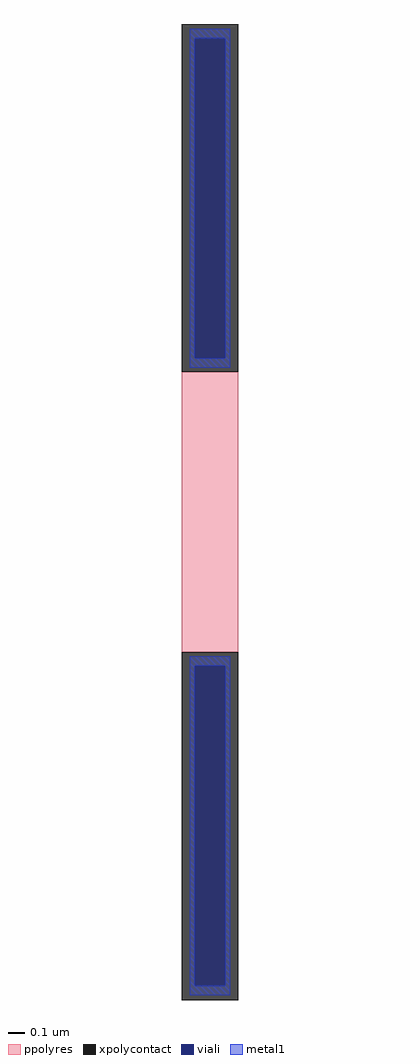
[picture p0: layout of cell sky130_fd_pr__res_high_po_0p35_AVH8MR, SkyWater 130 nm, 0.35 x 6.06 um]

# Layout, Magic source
magic
tech sky130A
magscale 1 2
<< xpolycontact >>
rect -35 174 35 606
rect -35 -606 35 -174
<< ppolyres >>
rect -35 -174 35 174
<< viali >>
rect -19 191 19 588
rect -19 -588 19 -191
<< metal1 >>
rect -25 588 25 600
rect -25 191 -19 588
rect 19 191 25 588
rect -25 179 25 191
rect -25 -191 25 -179
rect -25 -588 -19 -191
rect 19 -588 25 -191
rect -25 -600 25 -588
<< properties >>
string gencell sky130_fd_pr__res_high_po_0p35
string library sky130
string parameters w 0.350 l 1.9 m 1 nx 1 wmin 0.350 lmin 0.50 class resistor rho 319.8 val 2.849k dummy 0 dw 0.0 term 194.82 sterm 0.0 caplen 0 guard 0 glc 1 grc 1 gtc 1 gbc 1 compatible {sky130_fd_pr__res_high_po_0p35  sky130_fd_pr__res_high_po_0p69 sky130_fd_pr__res_high_po_1p41  sky130_fd_pr__res_high_po_2p85 sky130_fd_pr__res_high_po_5p73} snake 0 full_metal 1 wmax 0.350 vias 1 n_guard 0 hv_guard 0 viagb 0 viagt 0 viagl 0 viagr 0
<< end >>
